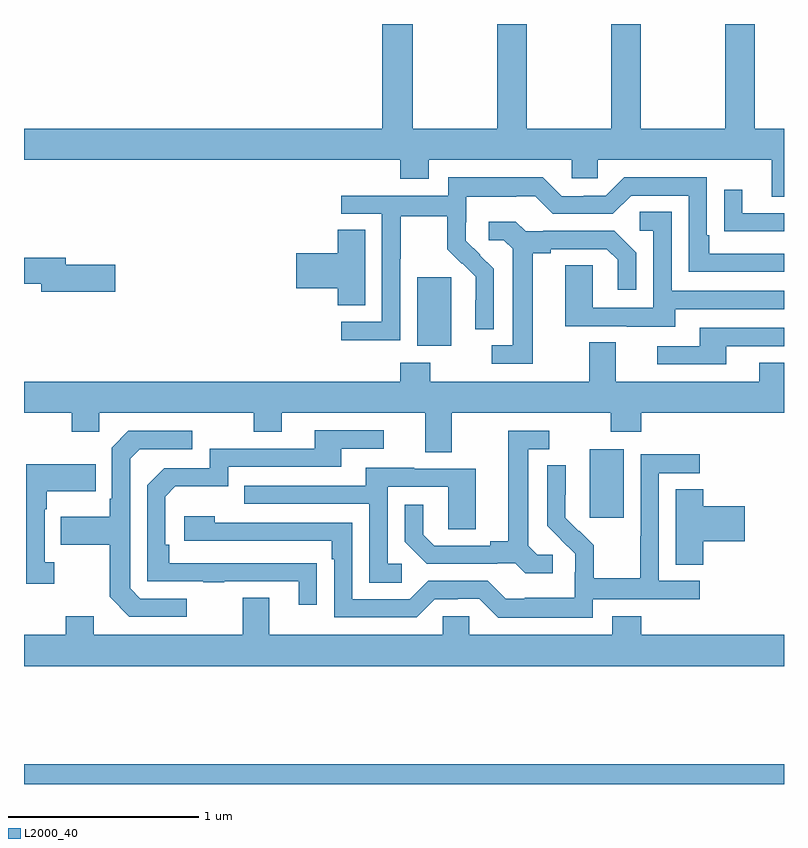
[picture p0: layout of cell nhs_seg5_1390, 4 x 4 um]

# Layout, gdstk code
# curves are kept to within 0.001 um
import gdstk
lib = gdstk.Library(unit=1e-6, precision=1e-09)
def R(c, l, rs):  # rectangles x0, y0, x1, y1
    for r in rs: c.add(gdstk.rectangle(r[:2], r[2:], *l))
def P(c, l, *ps):  # polygons
    for p in ps: c.add(gdstk.Polygon(p, *l))
L2000_40 = (2000, 40)

nhs_seg5_1390 = lib.new_cell('nhs_seg5_1390')
R(nhs_seg5_1390, L2000_40, [(195,862.799,199,862.904), (197.978,864.201,198.157,864.562), (197.069,865.106,197.248,865.467)])
P(nhs_seg5_1390, L2000_40, [(199,866.248),(198.846,866.248),(198.846,866.799),(198.691,866.799),(198.691,866.248),(198.246,866.248),(198.246,866.799),(198.091,866.799),(198.091,866.248),(197.646,866.248),(197.646,866.799),(197.491,866.799),(197.491,866.248),(197.046,866.248),(197.046,866.799),(196.886,866.799),(196.886,866.248),(195,866.248),(195,866.084),(196.979,866.084),(196.979,865.985),(197.131,865.985),(197.131,866.084),(197.883,866.084),(197.883,865.986),(198.021,865.986),(198.021,866.084),(198.935,866.084),(198.935,865.89),(199,865.89)],
  [(196.98,865.564),(196.983,865.564),(196.983,865.788),(197.227,865.788),(197.227,865.613),(197.304,865.536),(197.307,865.539),(197.378,865.469),(197.378,865.346),(197.376,865.346),(197.376,865.192),(197.472,865.192),(197.472,865.51),(197.326,865.658),(197.326,865.755),(197.328,865.755),(197.328,865.889),(197.591,865.889),(197.591,865.893),(197.691,865.893),(197.784,865.8),(198.099,865.8),(198.195,865.896),(198.498,865.896),(198.498,865.494),(199,865.494),(199,865.59),(198.607,865.59),(198.607,865.687),(198.594,865.687),(198.594,865.992),(198.159,865.992),(198.063,865.896),(197.945,865.896),(197.945,865.893),(197.829,865.893),(197.729,865.993),(197.232,865.993),(197.232,865.896),(196.671,865.896),(196.671,865.8),(196.884,865.8),(196.884,865.233),(196.671,865.233),(196.671,865.135),(196.98,865.135)],
  [(199,865.803),(198.781,865.803),(198.781,865.927),(198.685,865.927),(198.685,865.708),(198.787,865.708),(198.787,865.707),(199,865.707)],
  [(198.427,865.299),(199,865.299),(199,865.395),(198.408,865.395),(198.408,865.811),(198.24,865.811),(198.24,865.71),(198.312,865.71),(198.312,865.305),(197.994,865.305),(197.994,865.529),(197.849,865.529),(197.849,865.209),(198.173,865.209),(198.173,865.205),(198.427,865.205)],
  [(197.677,865.592),(197.773,865.592),(197.773,865.614),(198.068,865.614),(198.125,865.557),(198.125,865.401),(198.222,865.401),(198.222,865.594),(198.106,865.71),(197.734,865.71),(197.734,865.707),(197.64,865.707),(197.588,865.759),(197.445,865.759),(197.445,865.662),(197.526,865.662),(197.573,865.615),(197.573,865.107),(197.463,865.107),(197.463,865.011),(197.677,865.011)],
  [(196.795,865.715),(196.652,865.715),(196.652,865.592),(196.434,865.592),(196.434,865.409),(196.652,865.409),(196.652,865.318),(196.795,865.318)],
  [(195.481,865.532),(195.22,865.532),(195.22,865.568),(195,865.568),(195,865.432),(195.092,865.432),(195.092,865.39),(195.481,865.39)],
  [(198.697,865.104),(199,865.104),(199,865.2),(198.557,865.2),(198.557,865.104),(198.333,865.104),(198.333,865.008),(198.697,865.008)],
  [(197.251,864.752),(198.088,864.752),(198.088,864.653),(198.248,864.653),(198.248,864.752),(199,864.752),(199,865.015),(198.869,865.015),(198.869,864.916),(198.115,864.916),(198.115,865.124),(197.975,865.124),(197.975,864.916),(197.139,864.916),(197.139,865.015),(196.979,865.015),(196.979,864.916),(195,864.916),(195,864.752),(195.25,864.752),(195.25,864.653),(195.396,864.653),(195.396,864.752),(196.21,864.752),(196.21,864.653),(196.357,864.653),(196.357,864.752),(197.111,864.752),(197.111,864.544),(197.251,864.544)],
  [(196.541,863.96),(195.764,863.961),(195.764,864.058),(195.744,864.058),(195.744,864.312),(195.797,864.365),(196.074,864.365),(196.074,864.468),(196.669,864.468),(196.669,864.564),(196.894,864.564),(196.894,864.66),(196.529,864.66),(196.529,864.564),(195.978,864.564),(195.978,864.462),(195.738,864.462),(195.648,864.372),(195.648,863.865),(195.943,863.865),(195.943,863.86),(196.055,863.86),(196.055,863.865),(196.445,863.865),(196.445,863.742),(196.541,863.742)],
  [(195.856,863.775),(195.612,863.775),(195.558,863.829),(195.558,864.51),(195.609,864.561),(195.886,864.561),(195.886,864.657),(195.549,864.657),(195.462,864.57),(195.462,864.301),(195.45,864.301),(195.45,864.205),(195.193,864.205),(195.193,864.058),(195.45,864.058),(195.45,863.785),(195.555,863.679),(195.856,863.679)],
  [(197.782,864.006),(197.7,864.006),(197.653,864.053),(197.653,864.561),(197.764,864.561),(197.764,864.657),(197.549,864.657),(197.549,864.077),(197.453,864.077),(197.453,864.054),(197.158,864.054),(197.101,864.111),(197.101,864.268),(197.004,864.268),(197.004,864.074),(197.12,863.958),(197.492,863.958),(197.492,863.961),(197.586,863.961),(197.638,863.909),(197.782,863.909)],
  [(197.994,863.772),(198.556,863.772),(198.556,863.868),(198.342,863.868),(198.342,864.435),(198.556,864.435),(198.556,864.534),(198.246,864.534),(198.246,864.104),(198.244,864.104),(198.244,863.881),(197.999,863.881),(197.999,864.055),(197.922,864.132),(197.919,864.129),(197.849,864.2),(197.85,864.476),(197.754,864.476),(197.754,864.158),(197.9,864.01),(197.9,863.913),(197.898,863.913),(197.898,863.779),(197.635,863.779),(197.635,863.775),(197.535,863.775),(197.442,863.868),(197.127,863.868),(197.031,863.772),(196.728,863.772),(196.728,864.174),(196.004,864.174),(196.004,864.208),(195.843,864.208),(195.843,864.078),(196.619,864.078),(196.619,863.981),(196.632,863.981),(196.632,863.676),(197.067,863.676),(197.163,863.772),(197.282,863.772),(197.282,863.775),(197.397,863.775),(197.497,863.675),(197.994,863.675)],
  [(195.16,863.966),(195.108,863.966),(195.108,864.245),(195.121,864.245),(195.121,864.341),(195.377,864.341),(195.377,864.481),(195.011,864.481),(195.011,863.853),(195.16,863.853)],
  [(196.987,863.958),(196.914,863.958),(196.914,864.363),(197.232,864.363),(197.232,864.139),(197.377,864.139),(197.377,864.459),(197.053,864.459),(197.053,864.463),(196.799,864.463),(196.799,864.369),(196.159,864.369),(196.159,864.273),(196.818,864.273),(196.818,863.857),(196.987,863.857)],
  [(198.575,864.077),(198.793,864.077),(198.793,864.26),(198.575,864.26),(198.575,864.35),(198.431,864.35),(198.431,863.953),(198.575,863.953)],
  [(199,863.584),(198.248,863.584),(198.248,863.683),(198.095,863.683),(198.095,863.584),(197.343,863.584),(197.343,863.682),(197.205,863.682),(197.205,863.584),(196.291,863.584),(196.291,863.779),(196.151,863.779),(196.151,863.584),(195.367,863.584),(195.367,863.683),(195.22,863.683),(195.22,863.584),(195,863.584),(195,863.42),(199,863.42)])

lib.write_gds('nhs_seg5_1390.gds')
